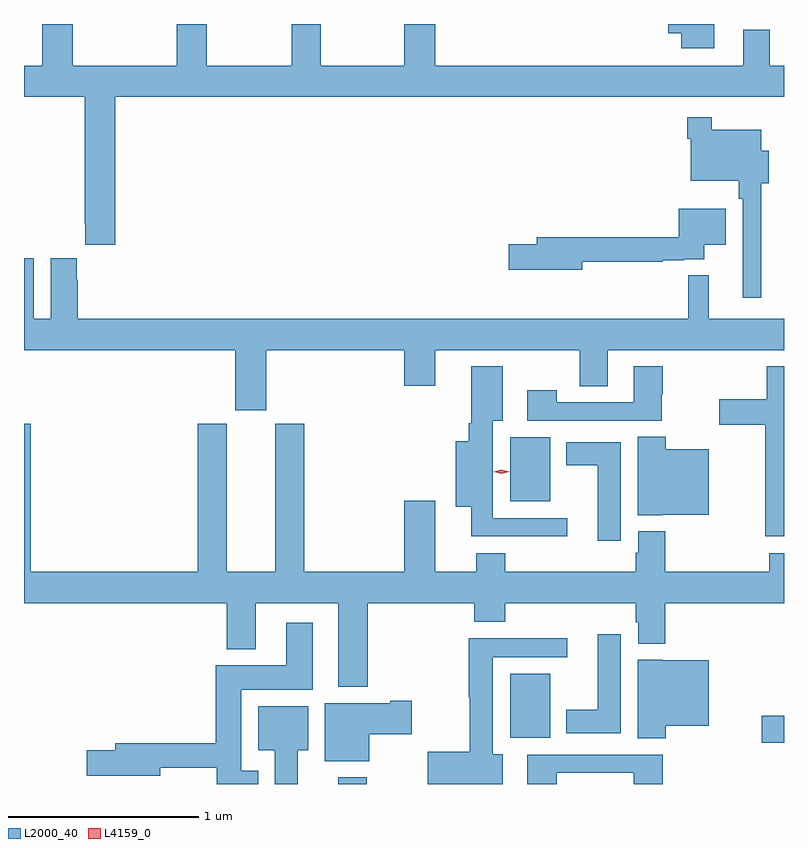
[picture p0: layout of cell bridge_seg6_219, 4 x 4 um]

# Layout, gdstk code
import gdstk
lib = gdstk.Library(unit=1e-6, precision=1e-09)
def R(c, l, rs):  # rectangles x0, y0, x1, y1
    for r in rs: c.add(gdstk.rectangle(r[:2], r[2:], *l))
def P(c, l, *ps):  # polygons
    for p in ps: c.add(gdstk.Polygon(p, *l))
L2000_40 = (2000, 40)
L4159_0 = (4159, 0)

bridge_seg6_219 = lib.new_cell('bridge_seg6_219')
R(bridge_seg6_219, L2000_40, [(188.639,961.036,188.787,961.072), (190.866,961.252,190.984,961.394), (189.542,961.28,189.754,961.615), (189.542,962.525,189.754,962.86)])
P(bridge_seg6_219, L2000_40, [(187.463,964.652),(190.984,964.652),(190.984,964.816),(190.909,964.816),(190.909,965.005),(190.769,965.005),(190.769,964.816),(189.148,964.816),(189.148,965.036),(188.984,965.036),(188.984,964.816),(188.547,964.816),(188.547,965.036),(188.392,965.036),(188.392,964.816),(187.947,964.816),(187.947,965.036),(187.787,965.036),(187.787,964.816),(187.241,964.816),(187.241,965.036),(187.081,965.036),(187.081,964.816),(186.984,964.816),(186.984,964.652),(187.303,964.652),(187.303,963.985),(187.307,963.985),(187.307,963.873),(187.463,963.873)],
  [(190.618,965.036),(190.376,965.036),(190.376,964.988),(190.442,964.988),(190.442,964.908),(190.618,964.908)],
  [(190.864,964.199),(190.903,964.199),(190.903,964.369),(190.864,964.369),(190.864,964.48),(190.603,964.48),(190.603,964.546),(190.474,964.546),(190.474,964.433),(190.494,964.433),(190.494,964.211),(190.747,964.211),(190.747,964.115),(190.767,964.115),(190.767,963.594),(190.864,963.594)],
  [(189.922,963.786),(190.346,963.786),(190.346,963.792),(190.46,963.792),(190.46,963.798),(190.564,963.798),(190.564,963.875),(190.678,963.875),(190.678,964.063),(190.43,964.063),(190.43,963.914),(189.683,963.914),(189.683,963.878),(189.534,963.878),(189.534,963.743),(189.922,963.743)],
  [(188.26,963.32),(188.984,963.32),(188.984,963.132),(189.148,963.132),(189.148,963.32),(189.91,963.32),(189.91,963.13),(190.057,963.13),(190.057,963.32),(190.984,963.32),(190.984,963.484),(190.589,963.484),(190.589,963.713),(190.48,963.713),(190.48,963.484),(187.268,963.484),(187.268,963.689),(187.261,963.689),(187.261,963.802),(187.124,963.802),(187.124,963.484),(187.036,963.484),(187.036,963.802),(186.984,963.802),(186.984,963.32),(188.096,963.32),(188.096,963.003),(188.26,963.003)],
  [(190.341,963.087),(190.346,963.087),(190.346,963.235),(190.193,963.235),(190.193,963.045),(189.789,963.045),(189.789,963.109),(189.633,963.109),(189.633,962.949),(190.341,962.949)],
  [(189.844,962.436),(189.451,962.436),(189.451,962.948),(189.505,962.948),(189.505,963.235),(189.338,963.235),(189.338,962.935),(189.326,962.935),(189.326,962.839),(189.257,962.839),(189.257,962.495),(189.338,962.495),(189.338,962.339),(189.844,962.339)],
  [(190.984,963.235),(190.892,963.235),(190.892,963.061),(190.644,963.061),(190.644,962.927),(190.885,962.927),(190.885,962.339),(190.984,962.339)],
  [(188.051,961.745),(188.203,961.745),(188.203,961.988),(188.639,961.988),(188.639,961.547),(188.792,961.547),(188.792,961.988),(189.353,961.988),(189.353,961.889),(189.518,961.889),(189.518,961.988),(190.205,961.988),(190.205,961.887),(190.217,961.887),(190.217,961.775),(190.358,961.775),(190.358,961.988),(190.984,961.988),(190.984,962.251),(190.907,962.251),(190.907,962.152),(190.358,962.152),(190.358,962.365),(190.217,962.365),(190.217,962.253),(190.205,962.253),(190.205,962.152),(189.518,962.152),(189.518,962.251),(189.365,962.251),(189.365,962.152),(189.148,962.152),(189.148,962.527),(188.984,962.527),(188.984,962.152),(188.459,962.152),(188.459,962.931),(188.306,962.931),(188.306,962.152),(188.05,962.152),(188.05,962.931),(187.898,962.931),(187.898,962.152),(187.019,962.152),(187.019,962.932),(186.984,962.932),(186.984,961.988),(188.051,961.988)],
  [(190.344,962.453),(190.588,962.453),(190.588,962.797),(190.361,962.797),(190.361,962.864),(190.214,962.864),(190.214,962.45),(190.344,962.45)],
  [(190.126,962.836),(189.839,962.836),(189.839,962.714),(190.004,962.714),(190.004,962.316),(190.126,962.316)],
  [(188.218,961.105),(188.128,961.105),(188.128,961.532),(188.503,961.532),(188.503,961.885),(188.363,961.885),(188.363,961.66),(187.994,961.66),(187.994,961.25),(187.463,961.25),(187.463,961.214),(187.314,961.214),(187.314,961.079),(187.702,961.079),(187.702,961.122),(187.999,961.122),(187.999,961.036),(188.218,961.036)],
  [(190.126,961.825),(190.004,961.825),(190.004,961.426),(189.839,961.426),(189.839,961.304),(190.126,961.304)],
  [(189.505,961.192),(189.451,961.192),(189.451,961.704),(189.844,961.704),(189.844,961.802),(189.326,961.802),(189.326,961.493),(189.331,961.493),(189.331,961.205),(189.108,961.205),(189.108,961.036),(189.505,961.036)],
  [(190.361,961.343),(190.588,961.343),(190.588,961.687),(190.344,961.687),(190.344,961.69),(190.214,961.69),(190.214,961.276),(190.361,961.276)],
  [(188.8,961.297),(189.025,961.297),(189.025,961.475),(188.912,961.475),(188.912,961.462),(188.567,961.462),(188.567,961.157),(188.8,961.157)],
  [(188.425,961.214),(188.479,961.214),(188.479,961.444),(188.216,961.444),(188.216,961.214),(188.303,961.214),(188.303,961.036),(188.425,961.036)],
  [(189.789,961.095),(190.193,961.095),(190.193,961.036),(190.346,961.036),(190.346,961.191),(189.633,961.191),(189.633,961.036),(189.789,961.036)])
P(bridge_seg6_219, L4159_0, [(189.497,962.67),(189.457,962.68),(189.457,962.68),(189.457,962.68),(189.497,962.69),(189.537,962.68),(189.537,962.68),(189.537,962.68)])

lib.write_gds('bridge_seg6_219.gds')
